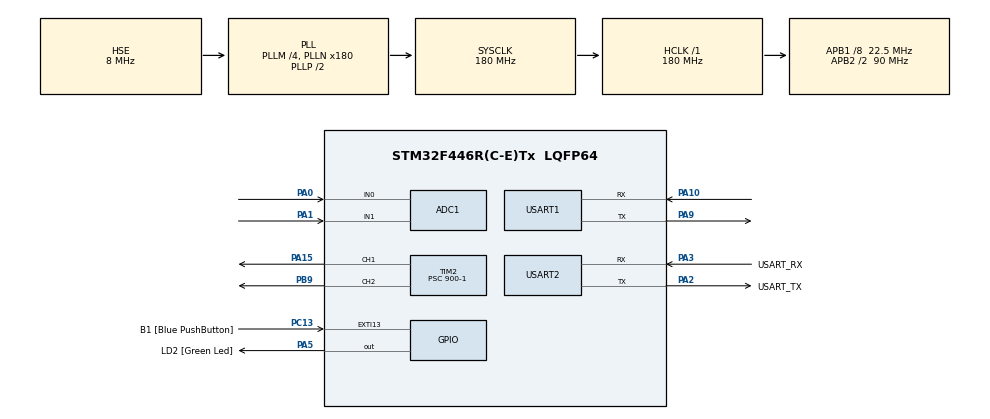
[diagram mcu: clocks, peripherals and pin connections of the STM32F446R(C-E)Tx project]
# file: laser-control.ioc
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ADC1.Channel-2\#ChannelRegularConversion=ADC_CHANNEL_0
ADC1.Channel-3\#ChannelRegularConversion=ADC_CHANNEL_1
ADC1.ContinuousConvMode=ENABLE
ADC1.NbrOfConversion=2
ADC1.NbrOfConversionFlag=1
ADC1.Rank-2\#ChannelRegularConversion=1
ADC1.Rank-3\#ChannelRegularConversion=2
ADC1.SamplingTime-2\#ChannelRegularConversion=ADC_SAMPLETIME_3CYCLES
ADC1.SamplingTime-3\#ChannelRegularConversion=ADC_SAMPLETIME_3CYCLES
ADC1.ScanConvMode=ENABLE
ADC1.master=1
Dma.ADC1.0.Direction=DMA_PERIPH_TO_MEMORY
Dma.ADC1.0.FIFOMode=DMA_FIFOMODE_DISABLE
Dma.ADC1.0.Instance=DMA2_Stream0
Dma.ADC1.0.MemDataAlignment=DMA_MDATAALIGN_WORD
Dma.ADC1.0.MemInc=DMA_MINC_ENABLE
Dma.ADC1.0.Mode=DMA_CIRCULAR
Dma.ADC1.0.PeriphDataAlignment=DMA_PDATAALIGN_WORD
Dma.ADC1.0.PeriphInc=DMA_PINC_DISABLE
Dma.ADC1.0.Priority=DMA_PRIORITY_LOW
Dma.Request0=ADC1
FREERTOS.Tasks01=controlTask,0,128,StartControlTask,Default,NULL,Dynamic,NULL,NULL;xServoTask,-1,128,StartXServoTask,Default,NULL,Dynamic,NULL,NULL;yServoTask,-1,128,StartYServoTask,Default,NULL,Dynamic,NULL,NULL
FREERTOS.configUSE_NEWLIB_REENTRANT=1
Mcu.Family=STM32F4
Mcu.Name=STM32F446R(C-E)Tx
Mcu.Package=LQFP64
NVIC.DMA2_Stream0_IRQn=true\:5\:0\:false\:false\:true\:true\:false\:true\:true
NVIC.PriorityGroup=NVIC_PRIORITYGROUP_4
NVIC.TIM1_UP_TIM10_IRQn=true\:15\:0\:false\:false\:true\:false\:false\:true\:true
NVIC.TIM2_IRQn=true\:5\:0\:false\:false\:true\:false\:true\:true\:true
NVIC.TimeBase=TIM1_UP_TIM10_IRQn
NVIC.TimeBaseIP=TIM1
PA0-WKUP.Signal=ADCx_IN0
PA1.Signal=ADCx_IN1
PA10.Mode=Asynchronous
PA10.Signal=USART1_RX
PA13.GPIO_Label=TMS
PA13.Mode=Serial_Wire
PA13.Signal=SYS_JTMS-SWDIO
PA14.GPIO_Label=TCK
PA14.Mode=Serial_Wire
PA14.Signal=SYS_JTCK-SWCLK
PA15.Signal=S_TIM2_CH1_ETR
PA2.GPIO_Label=USART_TX
PA2.Mode=Asynchronous
PA2.Signal=USART2_TX
PA3.GPIO_Label=USART_RX
PA3.Mode=Asynchronous
PA3.Signal=USART2_RX
PA5.GPIO_Label=LD2 [Green Led]
PA5.Signal=GPIO_Output
PA9.Mode=Asynchronous
PA9.Signal=USART1_TX
PB3.GPIO_Label=SWO
PB3.Signal=SYS_JTDO-SWO
PB9.Signal=S_TIM2_CH2
PC13.GPIO_Label=B1 [Blue PushButton]
PC13.GPIO_ModeDefaultEXTI=GPIO_MODE_IT_FALLING
PC13.Signal=GPXTI13
PC14-OSC32_IN.Mode=LSE-External-Oscillator
PC14-OSC32_IN.Signal=RCC_OSC32_IN
PC15-OSC32_OUT.Mode=LSE-External-Oscillator
PC15-OSC32_OUT.Signal=RCC_OSC32_OUT
PH0-OSC_IN.Mode=HSE-External-Oscillator
PH0-OSC_IN.Signal=RCC_OSC_IN
PH1-OSC_OUT.Mode=HSE-External-Oscillator
PH1-OSC_OUT.Signal=RCC_OSC_OUT
ProjectManager.HeapSize=0x200
ProjectManager.StackSize=0x400
ProjectManager.TargetToolchain=STM32CubeIDE
RCC.48MHZClocksFreq_Value=84000000
RCC.AHBFreq_Value=180000000
RCC.APB1CLKDivider=RCC_HCLK_DIV8
RCC.APB1Freq_Value=22500000
RCC.APB1TimFreq_Value=45000000
RCC.APB2CLKDivider=RCC_HCLK_DIV2
RCC.APB2Freq_Value=90000000
RCC.APB2TimFreq_Value=180000000
RCC.CortexFreq_Value=180000000
RCC.FLatency-AdvancedSettings=FLASH_LATENCY_5
RCC.HCLKFreq_Value=180000000
RCC.HSE_VALUE=8000000
RCC.HSI_VALUE=16000000
RCC.PLLM=4
RCC.PLLN=180
RCC.PLLSourceVirtual=RCC_PLLSOURCE_HSE
RCC.SYSCLKFreq_VALUE=180000000
RCC.SYSCLKSource=RCC_SYSCLKSOURCE_PLLCLK
RCC.USBFreq_Value=180000000
RCC.VCOOutputFreq_Value=360000000
SH.ADCx_IN0.0=ADC1_IN0,IN0
SH.ADCx_IN1.0=ADC1_IN1,IN1
SH.S_TIM2_CH1_ETR.0=TIM2_CH1,PWM Generation1 CH1
SH.S_TIM2_CH2.0=TIM2_CH2,PWM Generation2 CH2
TIM2.Channel-PWM\ Generation1\ CH1=TIM_CHANNEL_1
TIM2.Channel-PWM\ Generation2\ CH2=TIM_CHANNEL_2
TIM2.Period=1000-1
TIM2.Prescaler=900-1
USART1.VirtualMode=VM_ASYNC
USART2.VirtualMode=VM_ASYNC
VP_FREERTOS_VS_CMSIS_V1.Mode=CMSIS_V1
VP_SYS_VS_tim1.Mode=TIM1
board=NUCLEO-F446RE

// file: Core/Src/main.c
/* USER CODE BEGIN Header */
/**
  ******************************************************************************
  * @file           : main.c
  * @brief          : Main program body
  ******************************************************************************
  * @attention
  *
  * Copyright (c) 2024 STMicroelectronics.
  * All rights reserved.
  *
  * This software is licensed under terms that can be found in the LICENSE file
  * in the root directory of this software component.
  * If no LICENSE file comes with this software, it is provided AS-IS.
  *
  ******************************************************************************
  */
/* USER CODE END Header */
#include "main.h"
#include "cmsis_os.h"

/* USER CODE BEGIN Includes */
#include <stdio.h>
#include <string.h>
/* USER CODE END Includes */

ADC_HandleTypeDef hadc1;
DMA_HandleTypeDef hdma_adc1;

TIM_HandleTypeDef htim2;

UART_HandleTypeDef huart1;
UART_HandleTypeDef huart2;

osThreadId controlTaskHandle;
osThreadId xServoTaskHandle;
osThreadId yServoTaskHandle;

void SystemClock_Config(void);

static void MX_GPIO_Init(void);

static void MX_DMA_Init(void);

static void MX_USART2_UART_Init(void);

static void MX_USART1_UART_Init(void);

static void MX_ADC1_Init(void);

static void MX_TIM2_Init(void);

void StartControlTask(void const *argument);

void StartXServoTask(void const *argument);

void StartYServoTask(void const *argument);

/* USER CODE BEGIN PFP */

int computeShift(uint32_t x);

void rotateServo(volatile uint32_t *servoRegister, int angle);

/* USER CODE END PFP */

int main(void) {

    /* MCU Configuration--------------------------------------------------------*/

    /* Reset of all peripherals, Initializes the Flash interface and the Systick. */
    HAL_Init();

    /* Configure the system clock */
    SystemClock_Config();

    /* Initialize all configured peripherals */
    MX_GPIO_Init();
    MX_DMA_Init();
    MX_USART2_UART_Init();
    MX_USART1_UART_Init();
    MX_ADC1_Init();
    MX_TIM2_Init();
    /* USER CODE BEGIN 2 */

    HAL_TIM_PWM_Start(&htim2, TIM_CHANNEL_1);
    HAL_TIM_PWM_Start(&htim2, TIM_CHANNEL_2);

    /* USER CODE END 2 */

    /* Create the thread(s) */
    /* definition and creation of controlTask */
    osThreadDef(controlTask, StartControlTask, osPriorityNormal, 0, 128);
    controlTaskHandle = osThreadCreate(osThread(controlTask), NULL);

    /* definition and creation of xServoTask */
    osThreadDef(xServoTask, StartXServoTask, osPriorityBelowNormal, 0, 128);
    xServoTaskHandle = osThreadCreate(osThread(xServoTask), NULL);

    /* definition and creation of yServoTask */
    osThreadDef(yServoTask, StartYServoTask, osPriorityBelowNormal, 0, 128);
    yServoTaskHandle = osThreadCreate(osThread(yServoTask), NULL);

    /* Start scheduler */
    osKernelStart();

    /* We should never get here as control is now taken by the scheduler */

    /* Infinite loop */
    while (1) {

    }
}

void SystemClock_Config(void) {
    RCC_OscInitTypeDef RCC_OscInitStruct = {0};
    RCC_ClkInitTypeDef RCC_ClkInitStruct = {0};

    /** Configure the main internal regulator output voltage
    */
    __HAL_RCC_PWR_CLK_ENABLE();
    __HAL_PWR_VOLTAGESCALING_CONFIG(PWR_REGULATOR_VOLTAGE_SCALE1);

    /** Initializes the RCC Oscillators according to the specified parameters
    * in the RCC_OscInitTypeDef structure.
    */
    RCC_OscInitStruct.OscillatorType = RCC_OSCILLATORTYPE_HSE;
    RCC_OscInitStruct.HSEState = RCC_HSE_ON;
    RCC_OscInitStruct.PLL.PLLState = RCC_PLL_ON;
    RCC_OscInitStruct.PLL.PLLSource = RCC_PLLSOURCE_HSE;
    RCC_OscInitStruct.PLL.PLLM = 4;
    RCC_OscInitStruct.PLL.PLLN = 180;
    RCC_OscInitStruct.PLL.PLLP = RCC_PLLP_DIV2;
    RCC_OscInitStruct.PLL.PLLQ = 2;
    RCC_OscInitStruct.PLL.PLLR = 2;
    if (HAL_RCC_OscConfig(&RCC_OscInitStruct) != HAL_OK) {
        Error_Handler();
    }

    /** Activate the Over-Drive mode
    */
    if (HAL_PWREx_EnableOverDrive() != HAL_OK) {
        Error_Handler();
    }

    /** Initializes the CPU, AHB and APB buses clocks
    */
    RCC_ClkInitStruct.ClockType = RCC_CLOCKTYPE_HCLK | RCC_CLOCKTYPE_SYSCLK
                                  | RCC_CLOCKTYPE_PCLK1 | RCC_CLOCKTYPE_PCLK2;
    RCC_ClkInitStruct.SYSCLKSource = RCC_SYSCLKSOURCE_PLLCLK;
    RCC_ClkInitStruct.AHBCLKDivider = RCC_SYSCLK_DIV1;
    RCC_ClkInitStruct.APB1CLKDivider = RCC_HCLK_DIV8;
    RCC_ClkInitStruct.APB2CLKDivider = RCC_HCLK_DIV2;

    if (HAL_RCC_ClockConfig(&RCC_ClkInitStruct, FLASH_LATENCY_5) != HAL_OK) {
        Error_Handler();
    }
}

static void MX_ADC1_Init(void) {

    ADC_ChannelConfTypeDef sConfig = {0};

    /** Configure the global features of the ADC (Clock, Resolution, Data Alignment and number of conversion)
    */
    hadc1.Instance = ADC1;
    hadc1.Init.ClockPrescaler = ADC_CLOCK_SYNC_PCLK_DIV4;
    hadc1.Init.Resolution = ADC_RESOLUTION_12B;
    hadc1.Init.ScanConvMode = ENABLE;
    hadc1.Init.ContinuousConvMode = ENABLE;
    hadc1.Init.DiscontinuousConvMode = DISABLE;
    hadc1.Init.ExternalTrigConvEdge = ADC_EXTERNALTRIGCONVEDGE_NONE;
    hadc1.Init.ExternalTrigConv = ADC_SOFTWARE_START;
    hadc1.Init.DataAlign = ADC_DATAALIGN_RIGHT;
    hadc1.Init.NbrOfConversion = 2;
    hadc1.Init.DMAContinuousRequests = DISABLE;
    hadc1.Init.EOCSelection = ADC_EOC_SINGLE_CONV;
    if (HAL_ADC_Init(&hadc1) != HAL_OK) {
        Error_Handler();
    }

    /** Configure for the selected ADC regular channel its corresponding rank in the sequencer and its sample time.
    */
    sConfig.Channel = ADC_CHANNEL_0;
    sConfig.Rank = 1;
    sConfig.SamplingTime = ADC_SAMPLETIME_3CYCLES;
    if (HAL_ADC_ConfigChannel(&hadc1, &sConfig) != HAL_OK) {
        Error_Handler();
    }

    /** Configure for the selected ADC regular channel its corresponding rank in the sequencer and its sample time.
    */
    sConfig.Channel = ADC_CHANNEL_1;
    sConfig.Rank = 2;
    if (HAL_ADC_ConfigChannel(&hadc1, &sConfig) != HAL_OK) {
        Error_Handler();
    }

}

static void MX_TIM2_Init(void) {

    TIM_MasterConfigTypeDef sMasterConfig = {0};
    TIM_OC_InitTypeDef sConfigOC = {0};

    htim2.Instance = TIM2;
    htim2.Init.Prescaler = 900 - 1;
    htim2.Init.CounterMode = TIM_COUNTERMODE_UP;
    htim2.Init.Period = 1000 - 1;
    htim2.Init.ClockDivision = TIM_CLOCKDIVISION_DIV1;
    htim2.Init.AutoReloadPreload = TIM_AUTORELOAD_PRELOAD_DISABLE;
    if (HAL_TIM_PWM_Init(&htim2) != HAL_OK) {
        Error_Handler();
    }
    sMasterConfig.MasterOutputTrigger = TIM_TRGO_RESET;
    sMasterConfig.MasterSlaveMode = TIM_MASTERSLAVEMODE_DISABLE;
    if (HAL_TIMEx_MasterConfigSynchronization(&htim2, &sMasterConfig) != HAL_OK) {
        Error_Handler();
    }
    sConfigOC.OCMode = TIM_OCMODE_PWM1;
    sConfigOC.Pulse = 0;
    sConfigOC.OCPolarity = TIM_OCPOLARITY_HIGH;
    sConfigOC.OCFastMode = TIM_OCFAST_DISABLE;
    if (HAL_TIM_PWM_ConfigChannel(&htim2, &sConfigOC, TIM_CHANNEL_1) != HAL_OK) {
        Error_Handler();
    }
    if (HAL_TIM_PWM_ConfigChannel(&htim2, &sConfigOC, TIM_CHANNEL_2) != HAL_OK) {
        Error_Handler();
    }
    HAL_TIM_MspPostInit(&htim2);

}

static void MX_USART1_UART_Init(void) {

    huart1.Instance = USART1;
    huart1.Init.BaudRate = 115200;
    huart1.Init.WordLength = UART_WORDLENGTH_8B;
    huart1.Init.StopBits = UART_STOPBITS_1;
    huart1.Init.Parity = UART_PARITY_NONE;
    huart1.Init.Mode = UART_MODE_TX_RX;
    huart1.Init.HwFlowCtl = UART_HWCONTROL_NONE;
    huart1.Init.OverSampling = UART_OVERSAMPLING_16;
    if (HAL_UART_Init(&huart1) != HAL_OK) {
        Error_Handler();
    }

}

static void MX_USART2_UART_Init(void) {

    huart2.Instance = USART2;
    huart2.Init.BaudRate = 115200;
    huart2.Init.WordLength = UART_WORDLENGTH_8B;
    huart2.Init.StopBits = UART_STOPBITS_1;
    huart2.Init.Parity = UART_PARITY_NONE;
    huart2.Init.Mode = UART_MODE_TX_RX;
    huart2.Init.HwFlowCtl = UART_HWCONTROL_NONE;
    huart2.Init.OverSampling = UART_OVERSAMPLING_16;
    if (HAL_UART_Init(&huart2) != HAL_OK) {
        Error_Handler();
    }

}

static void MX_DMA_Init(void) {

    /* DMA controller clock enable */
    __HAL_RCC_DMA2_CLK_ENABLE();

    /* DMA interrupt init */
    /* DMA2_Stream0_IRQn interrupt configuration */
    HAL_NVIC_SetPriority(DMA2_Stream0_IRQn, 5, 0);
    HAL_NVIC_EnableIRQ(DMA2_Stream0_IRQn);

}

static void MX_GPIO_Init(void) {
    GPIO_InitTypeDef GPIO_InitStruct = {0};

    /* GPIO Ports Clock Enable */
    __HAL_RCC_GPIOC_CLK_ENABLE();
    __HAL_RCC_GPIOH_CLK_ENABLE();
    __HAL_RCC_GPIOA_CLK_ENABLE();
    __HAL_RCC_GPIOB_CLK_ENABLE();

    /*Configure GPIO pin Output Level */
    HAL_GPIO_WritePin(LD2_GPIO_Port, LD2_Pin, GPIO_PIN_RESET);

    /*Configure GPIO pin : B1_Pin */
    GPIO_InitStruct.Pin = B1_Pin;
    GPIO_InitStruct.Mode = GPIO_MODE_IT_FALLING;
    GPIO_InitStruct.Pull = GPIO_NOPULL;
    HAL_GPIO_Init(B1_GPIO_Port, &GPIO_InitStruct);

    /*Configure GPIO pin : LD2_Pin */
    GPIO_InitStruct.Pin = LD2_Pin;
    GPIO_InitStruct.Mode = GPIO_MODE_OUTPUT_PP;
    GPIO_InitStruct.Pull = GPIO_NOPULL;
    GPIO_InitStruct.Speed = GPIO_SPEED_FREQ_LOW;
    HAL_GPIO_Init(LD2_GPIO_Port, &GPIO_InitStruct);

}

/* USER CODE BEGIN 4 */

int computeShift(uint32_t x) {
    if (x <= 500) {
        return -2;
    } else if (x <= 2000) {
        return -1;
    } else if (x <= 2200) {
        return 0;
    } else if (x <= 4000) {
        return 1;
    } else {
        return 2;
    }
}

void rotateServo(volatile uint32_t *servoRegister, int angle) {
    int min = 20;
    int max = 120;

    int delta = max - min;

    double degreesPerTick = (180.0 / delta);

    int ticks = (int) (angle / degreesPerTick) + min;

    int cappedTicks = ticks > max ? max : (ticks < min ? min : ticks);

    *servoRegister = cappedTicks;
}

static int xShiftBuffer;
static int yShiftBuffer;

/* USER CODE END 4 */

void StartControlTask(void const *argument) {
    /* USER CODE BEGIN 5 */
    osDelay(1000);
    HAL_UART_Transmit(&huart1, (uint8_t *) "====== \r\n", strlen("===== \r\n"), HAL_MAX_DELAY);

    char msg[50] = {'\0'};
    uint32_t xy[2];

    /* Infinite loop */
    for (;;) {
        HAL_ADC_Start_DMA(&hadc1, xy, 2);
        sprintf(msg, "x: %lu, y: %lu \r\n", xy[0], xy[1]);
        HAL_UART_Transmit(&huart1, (uint8_t *) msg, strlen(msg), HAL_MAX_DELAY);

        int xShift = computeShift(xy[0]);
        int yShift = computeShift(xy[1]);

        xShiftBuffer = xShift;
        yShiftBuffer = yShift;

        osDelay(100);
    }
    /* USER CODE END 5 */
}

void StartXServoTask(void const *argument) {
    for (;;) {
        osDelay(1);
    }
}

void StartYServoTask(void const *argument) {
    for (;;) {
        osDelay(1);
    }
}

void HAL_TIM_PeriodElapsedCallback(TIM_HandleTypeDef *htim) {
    if (htim->Instance == TIM1) {
        HAL_IncTick();
    }
}

void Error_Handler(void) {
    __disable_irq();
    while (1) {
    }
}
